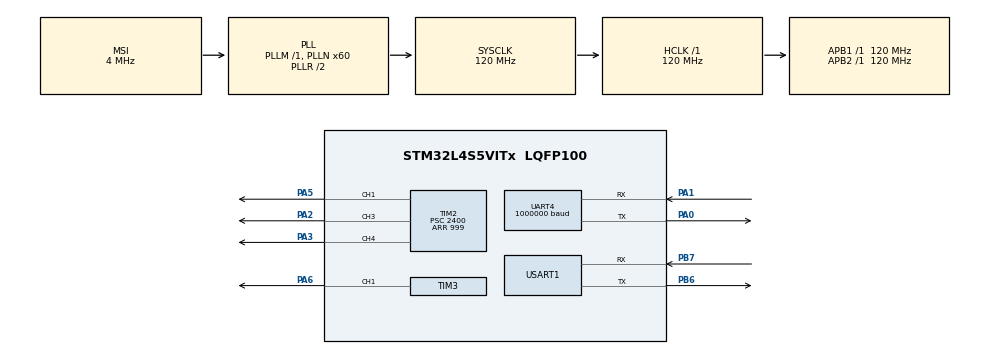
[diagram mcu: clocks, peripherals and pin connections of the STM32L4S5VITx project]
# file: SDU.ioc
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Mcu.Family=STM32L4
Mcu.Name=STM32L4S5VITx
Mcu.Package=LQFP100
NVIC.PriorityGroup=NVIC_PRIORITYGROUP_4
NVIC.UART4_IRQn=true\:0\:0\:false\:false\:true\:true\:true\:true
PA0.Mode=Asynchronous
PA0.Signal=UART4_TX
PA1.Mode=Asynchronous
PA1.Signal=UART4_RX
PA2.Signal=S_TIM2_CH3
PA3.Signal=S_TIM2_CH4
PA5.Signal=S_TIM2_CH1
PA6.Signal=S_TIM3_CH1
PB6.Mode=Asynchronous
PB6.Signal=USART1_TX
PB7.Mode=Asynchronous
PB7.Signal=USART1_RX
ProjectManager.HeapSize=0x200
ProjectManager.StackSize=0x400
ProjectManager.TargetToolchain=STM32CubeIDE
RCC.ADCFreq_Value=48000000
RCC.AHBFreq_Value=120000000
RCC.APB1Freq_Value=120000000
RCC.APB1TimFreq_Value=120000000
RCC.APB2Freq_Value=120000000
RCC.APB2TimFreq_Value=120000000
RCC.CortexFreq_Value=120000000
RCC.HCLKFreq_Value=120000000
RCC.HSE_VALUE=8000000
RCC.HSI48_VALUE=48000000
RCC.HSI_VALUE=16000000
RCC.LSE_VALUE=32768
RCC.MSI_VALUE=4000000
RCC.PLLN=60
RCC.PLLSAI1N=24
RCC.SYSCLKFreq_VALUE=120000000
RCC.SYSCLKSource=RCC_SYSCLKSOURCE_PLLCLK
RCC.USBFreq_Value=48000000
RCC.VCOOutputFreq_Value=240000000
SH.S_TIM2_CH1.0=TIM2_CH1,PWM Generation1 CH1
SH.S_TIM2_CH3.0=TIM2_CH3,PWM Generation3 CH3
SH.S_TIM2_CH4.0=TIM2_CH4,PWM Generation4 CH4
SH.S_TIM3_CH1.0=TIM3_CH1,PWM Generation1 CH1
TIM2.Channel-PWM\ Generation1\ CH1=TIM_CHANNEL_1
TIM2.Channel-PWM\ Generation3\ CH3=TIM_CHANNEL_3
TIM2.Channel-PWM\ Generation4\ CH4=TIM_CHANNEL_4
TIM2.Period=999
TIM2.Prescaler=2400
TIM2.Pulse-PWM\ Generation1\ CH1=50
TIM2.Pulse-PWM\ Generation3\ CH3=50
TIM2.Pulse-PWM\ Generation4\ CH4=50
TIM3.Channel-PWM\ Generation1\ CH1=TIM_CHANNEL_1
TIM3.Period=999
TIM3.Prescaler=2400
TIM3.Pulse-PWM\ Generation1\ CH1=50
UART4.BaudRate=1000000
USART1.VirtualMode-Asynchronous=VM_ASYNC
VP_TIM2_VS_ClockSourceINT.Mode=Internal
VP_TIM3_VS_ClockSourceINT.Mode=Internal
board=B-L4S5I-IOT01A

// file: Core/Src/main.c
/* USER CODE BEGIN Header */
/**
  ******************************************************************************
  * @file           : main.c
  * @brief          : Main program body
  ******************************************************************************
  * @attention
  *
  * Copyright (c) 2023 STMicroelectronics.
  * All rights reserved.
  *
  * This software is licensed under terms that can be found in the LICENSE file
  * in the root directory of this software component.
  * If no LICENSE file comes with this software, it is provided AS-IS.
  *
  ******************************************************************************
  */
/* USER CODE END Header */
#include "main.h"
#include "tim.h"
#include "usart.h"
#include "gpio.h"

/* USER CODE BEGIN Includes */

#include "jci.h"
#include <stdbool.h>
#include <stdio.h>
#include <string.h>

/* USER CODE END Includes */

/* USER CODE BEGIN PD */

#define PRINT(s) HAL_UART_Transmit(&huart1, s, strlen(s), HAL_MAX_DELAY)

/* USER CODE END PD */

/* USER CODE BEGIN PV */

volatile bool new_data = false;
#define SERVO_COUNT 4
uint8_t servo_Ids[SERVO_COUNT] = {'0','1','y','p'}; //TODO: change IDS
TIM_HandleTypeDef* tim_ids[SERVO_COUNT] = {&htim2,&htim2,&htim2,&htim3};
//TODO: This is the wrong datatype but i don't know what to use
uint32_t tim_channels[SERVO_COUNT] = {TIM_CHANNEL_1,TIM_CHANNEL_3,TIM_CHANNEL_4,TIM_CHANNEL_1};
#define MIN_SERVO_POSITION  30 //should be 50 using spec sheet, but 30 is closer to the true value when testing
#define MAX_SERVO_POSITION 125
volatile uint16_t servo_positions[SERVO_COUNT] = {50,50,50,50}; //50 is defined as default position, can be changed

/****** JCI protocol ******/

#define MAX_JCI_PACKET_SIZE (3 + 256 * 3 + 1)

//DATA RECEIVER TX
uint8_t txpacket[MAX_JCI_PACKET_SIZE] = {0};

volatile jci_t jci_tx = {
		.TRANS = 'A',
		.CHECKSUM_EN = 1,
		.GRAN = 1,
		.PTYPE = 0,
		.PSIZE = 4,
		.SOURCE = 0,
		.CONT = 1
};

uint8_t txdata[SERVO_COUNT] = {0};
uint8_t txid[SERVO_COUNT] = {
		'0',
		'1',
		'y',
		'p'
};

//DATA RECEIVER RX
uint8_t rxpacket[MAX_JCI_PACKET_SIZE] = {0};
volatile jci_t jci_rx;
uint8_t rxdata[SERVO_COUNT] = {0};
uint8_t rxid[SERVO_COUNT] = {0};

volatile uint8_t num_agreed_id = 0;
uint8_t agreeid[SERVO_COUNT] = {0};

/* USER CODE END PV */

void SystemClock_Config(void);

int main(void)
{

  /* MCU Configuration--------------------------------------------------------*/

  /* Reset of all peripherals, Initializes the Flash interface and the Systick. */
  HAL_Init();

  /* Configure the system clock */
  SystemClock_Config();

  /* Initialize all configured peripherals */
  MX_GPIO_Init();
  MX_TIM2_Init();
  MX_UART4_Init();
  MX_USART1_UART_Init();
  MX_TIM3_Init();
  /* USER CODE BEGIN 2 */

  PRINT("SDU Init\r\n");

  //Servo PWM timers
  HAL_TIM_PWM_Start(&htim2, TIM_CHANNEL_1);
  HAL_TIM_PWM_Start(&htim2, TIM_CHANNEL_3);
  HAL_TIM_PWM_Start(&htim2, TIM_CHANNEL_4);
  HAL_TIM_PWM_Start(&htim3, TIM_CHANNEL_1);

  //Start RX
  HAL_UARTEx_ReceiveToIdle_IT(&huart4, rxpacket, MAX_JCI_PACKET_SIZE);

  /* USER CODE END 2 */

  /* Infinite loop */
  while (1)
  {

    /* USER CODE BEGIN 3 */
	PRINT("Entering Sleep\r\n");
	HAL_SuspendTick();
	HAL_PWR_EnableSleepOnExit();
	HAL_PWR_EnterSLEEPMode(PWR_MAINREGULATOR_ON,PWR_SLEEPENTRY_WFI);

	//This code should not be reached
	HAL_ResumeTick();
	PRINT("ERROR: Exited Sleep in MAIN\r\n");

	//	while(!new_data){}

//	if(new_data){
//		new_data = false;
//		//Loop through servos and update values
//		for(int i=0;i<SERVO_COUNT;i++){
//			if(__HAL_TIM_GET_COMPARE(tim_ids[i],tim_channels[i]) != servo_positions[i]){
//				__HAL_TIM_SET_COMPARE(tim_ids[i],tim_channels[i],servo_positions[i]);
//			}
//		}
//	}

  }
  /* USER CODE END 3 */
}

void SystemClock_Config(void)
{
  RCC_OscInitTypeDef RCC_OscInitStruct = {0};
  RCC_ClkInitTypeDef RCC_ClkInitStruct = {0};

  /** Configure the main internal regulator output voltage
  */
  if (HAL_PWREx_ControlVoltageScaling(PWR_REGULATOR_VOLTAGE_SCALE1_BOOST) != HAL_OK)
  {
    Error_Handler();
  }

  /** Initializes the RCC Oscillators according to the specified parameters
  * in the RCC_OscInitTypeDef structure.
  */
  RCC_OscInitStruct.OscillatorType = RCC_OSCILLATORTYPE_MSI;
  RCC_OscInitStruct.MSIState = RCC_MSI_ON;
  RCC_OscInitStruct.MSICalibrationValue = 0;
  RCC_OscInitStruct.MSIClockRange = RCC_MSIRANGE_6;
  RCC_OscInitStruct.PLL.PLLState = RCC_PLL_ON;
  RCC_OscInitStruct.PLL.PLLSource = RCC_PLLSOURCE_MSI;
  RCC_OscInitStruct.PLL.PLLM = 1;
  RCC_OscInitStruct.PLL.PLLN = 60;
  RCC_OscInitStruct.PLL.PLLP = RCC_PLLP_DIV2;
  RCC_OscInitStruct.PLL.PLLQ = RCC_PLLQ_DIV2;
  RCC_OscInitStruct.PLL.PLLR = RCC_PLLR_DIV2;
  if (HAL_RCC_OscConfig(&RCC_OscInitStruct) != HAL_OK)
  {
    Error_Handler();
  }

  /** Initializes the CPU, AHB and APB buses clocks
  */
  RCC_ClkInitStruct.ClockType = RCC_CLOCKTYPE_HCLK|RCC_CLOCKTYPE_SYSCLK
                              |RCC_CLOCKTYPE_PCLK1|RCC_CLOCKTYPE_PCLK2;
  RCC_ClkInitStruct.SYSCLKSource = RCC_SYSCLKSOURCE_PLLCLK;
  RCC_ClkInitStruct.AHBCLKDivider = RCC_SYSCLK_DIV1;
  RCC_ClkInitStruct.APB1CLKDivider = RCC_HCLK_DIV1;
  RCC_ClkInitStruct.APB2CLKDivider = RCC_HCLK_DIV1;

  if (HAL_RCC_ClockConfig(&RCC_ClkInitStruct, FLASH_LATENCY_5) != HAL_OK)
  {
    Error_Handler();
  }
}

/* USER CODE BEGIN 4 */

void HAL_UARTEx_RxEventCallback(UART_HandleTypeDef *huart, uint16_t Size){

	if(huart == &huart4){

		uint8_t id_found;

		char trans = ' ';
		uint8_t* addr;

		char buffer[256];
		int rxpacketsize = 0;
		int txpacketsize = 0;

		//Check for JCI packet
		addr = jci_findPacket(rxpacket, Size, &trans);
		if(trans != ' '){

			//Parse packet
			rxpacketsize = jci_parsePacket(&jci_rx, rxdata, rxid, addr);

			if(rxpacketsize == -2){ //C-flow packet received but not in C-flow
				jci_tx.TRANS = 'A';
				jci_tx.CHECKSUM_EN = 0;
				jci_tx.GRAN = 0;
				jci_tx.CONT = 0;
				jci_tx.PSIZE = 0;

				txpacketsize = jci_buildPacket(&jci_tx, NULL, NULL, txpacket);

				HAL_UART_Transmit(&huart4, txpacket, txpacketsize, HAL_MAX_DELAY);

			}
			else if(rxpacketsize < 0){
				PRINT("INVALID PACKET RECEIVED\r\n");
			}
			else{ //valid packet

				if(jci_rx.TRANS == 'C'){ //receive C-flow data
					//NOTE: illegal 'C' packet are handled using the

					//PRINT(buffer);
					for(int i = 0 ; i < jci_rx.PSIZE ; i++){
						sprintf(buffer, "ID%i: %c    DATA: %i\r\n", i, rxid[i], rxdata[i]);
						PRINT(buffer);
					}
					if(!new_data){
						//Set servo values
						for(int i = 0 ; i < num_agreed_id ; i++){
							for(int j=0; j < SERVO_COUNT; j++){
								if(agreeid[i]==servo_Ids[j]){
									servo_positions[j] = MIN_SERVO_POSITION + (uint16_t)(((float)rxdata[i])*((MAX_SERVO_POSITION-MIN_SERVO_POSITION))/255.0); //scale between min and max
								}
							}
						}
						new_data = true; //flag main process
					}

				}
				else if((jci_rx.TRANS == 'S') && (jci_rx.CONT == 1)){ //if request for C-flow, send ACK

					PRINT("C-flow REQUESTED\r\n");

					//Check the IDs requested for control to make sure they are valid
					jci_tx.CONT = 1; //accept by default
					for(int i = 0; i < jci_rx.PSIZE ; i++){
						id_found = 0;
						for(int j = 0; j < SERVO_COUNT ; j++){
							if(servo_Ids[j] == rxid[i]){

								id_found = 1;

								//update agreed ID list
								agreeid[num_agreed_id++] = servo_Ids[j];

								//update joint value if found
								servo_positions[j] = MIN_SERVO_POSITION + (uint16_t)(((float)rxdata[i])*((MAX_SERVO_POSITION-MIN_SERVO_POSITION))/255.0); //scale between min and max
								break;
							}
						}
						if(id_found == 0){
							PRINT("INVALID ID REQUESTED, REFUSING C-flow\r\n");
							jci_tx.CONT = 0; //refuse because invalid ID
							//continue cause there might be other valid IDs with data
						}
					}

					//Confirm the parameters (send back to agree)
					jci_tx.CHECKSUM_EN = jci_rx.CHECKSUM_EN;
					jci_tx.PTYPE = jci_rx.PTYPE;
					jci_tx.PSIZE = jci_rx.PSIZE;

					//Send the ACK
					jci_tx.TRANS = 'A';
					jci_tx.GRAN = 0; //response to 'S'

					txpacketsize = jci_buildPacket(&jci_tx, NULL, txid, txpacket);

					HAL_UART_Transmit(&huart4, txpacket, txpacketsize, HAL_MAX_DELAY);
					//Check for C-flow
					jci_confirmCFlow(&jci_tx, txid, &jci_rx, rxid);

				}
				else if(jci_rx.TRANS == 'S'){ //check if normal data

					if(!new_data){
						//Set servo values
						for(int i = 0 ; i < jci_rx.PSIZE ; i++){
							for(int j=0; j < SERVO_COUNT; j++){
								if(rxid[i]==servo_Ids[j]){
									servo_positions[j] = MIN_SERVO_POSITION + (uint16_t)(((float)rxdata[i])*((MAX_SERVO_POSITION-MIN_SERVO_POSITION))/255.0); //scale between min and max
								}
							}
						}
						new_data = true; //flag main process
					}
				}
				for(int i = 0 ; i < jci_rx.PSIZE ; i++){ //print is valid packet received
					sprintf(buffer, "ID%i: %c    DATA: %i\r\n", i, rxid[i], rxdata[i]);
					PRINT(buffer);
				}
			}

		}

		//Update servo positions if new data is received
		if(new_data){
			for(int i=0;i<SERVO_COUNT;i++){
				if(__HAL_TIM_GET_COMPARE(tim_ids[i],tim_channels[i]) != servo_positions[i]){
					__HAL_TIM_SET_COMPARE(tim_ids[i],tim_channels[i],servo_positions[i]);
				}
			}
			new_data = false;
		}

		//Wait for next packet
		HAL_UARTEx_ReceiveToIdle_IT(&huart4, rxpacket, MAX_JCI_PACKET_SIZE);

	}

}

/* USER CODE END 4 */

void Error_Handler(void)
{
  __disable_irq();
  while (1)
  {
  }
}
